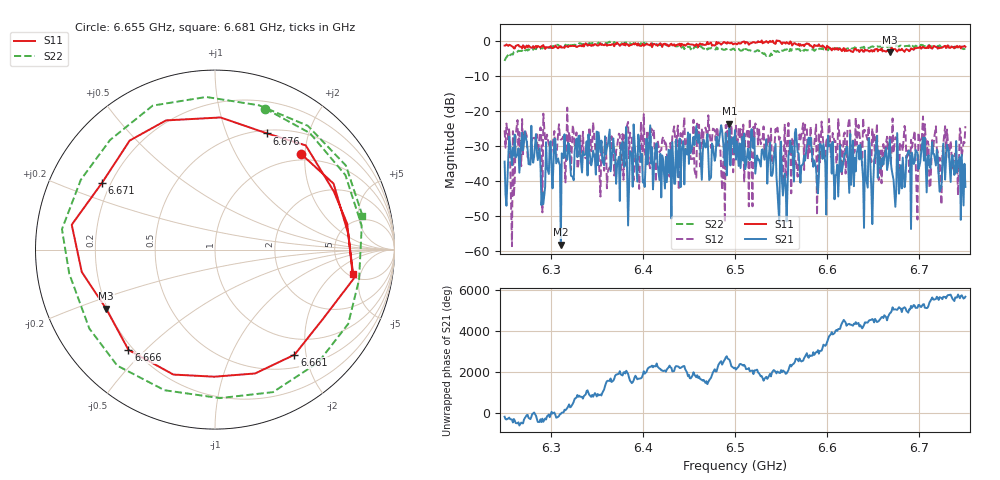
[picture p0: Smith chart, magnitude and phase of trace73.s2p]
# Hz S RI R 50
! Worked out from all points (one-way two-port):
!   401 points, 6.25 GHz to 6.75 GHz, reference 50 ohm
!   highest |S21| = -23.59 dB at 6.494 GHz (marker M1); lowest = -58.2 dB at 6.311 GHz (marker M2)
!   lowest |S11| = -3.2 dB at 6.668 GHz (marker M3), VSWR 5.46, Z = 9.74 - j12.2 ohm
!   |S11| at or under -10 dB: nowhere
!   |S22| runs from -5.6 to -0.1 dB; largest |S21 - S12| = 0.12
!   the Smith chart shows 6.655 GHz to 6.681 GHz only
!   S11 on the Smith chart (normalised r, x): 6.655 GHz: 0.87, +1.92; 6.661 GHz: 0.71, -1.79; 6.666 GHz: 0.18, -0.45; 6.671 GHz: 0.17, +0.27; 6.676 GHz: 0.54, +1.40; 6.681 GHz: 5.41, -3.72
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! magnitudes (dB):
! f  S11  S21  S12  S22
! 6.25 GHz  -1.3  -34.4  -25.5  -5.6
! 6.259 GHz  -1.6  -30.5  -25.7  -3.8
! 6.266 GHz  -1.5  -37.6  -26.0  -2.8
! 6.311 GHz  -1.4  -58.2  -28.1  -1.8
! 6.334 GHz  -1.5  -37.5  -34.4  -0.8
! 6.418 GHz  -0.8  -39.7  -31.7  -1.1
! 6.479 GHz  -1.1  -32.8  -28.4  -2.4
! 6.486 GHz  -0.7  -25.6  -42.5  -2.3
! 6.494 GHz  -0.6  -23.6  -25.5  -2.6
! 6.5 GHz  -0.7  -25.4  -30.2  -2.6
! 6.554 GHz  -0.4  -37.8  -23.6  -2.4
! 6.56 GHz  -0.1  -28.4  -29.0  -2.2
! 6.584 GHz  -1.7  -33.6  -34.5  -2.4
! 6.655 GHz  -2.9  -39.0  -35.0  -1.6
! 6.661 GHz  -2.7  -35.3  -29.4  -1.4
! 6.666 GHz  -2.6  -35.2  -31.3  -1.6
! 6.668 GHz  -3.2  -28.2  -27.3  -1.5
! 6.671 GHz  -2.7  -38.2  -22.1  -1.3
! 6.676 GHz  -3.0  -26.3  -28.4  -1.4
! 6.681 GHz  -2.2  -42.1  -29.7  -1.5
! 6.74 GHz  -1.7  -28.5  -36.2  -1.7
! 6.75 GHz  -1.6  -41.6  -24.3  -2.2
